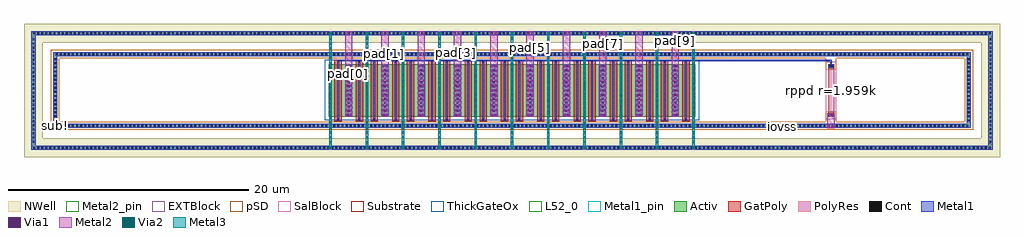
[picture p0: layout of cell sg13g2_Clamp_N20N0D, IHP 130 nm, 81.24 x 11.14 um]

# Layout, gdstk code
import gdstk
lib = gdstk.Library(unit=1e-6, precision=5e-09)
def R(c, l, rs):  # rectangles x0, y0, x1, y1
    for r in rs: c.add(gdstk.rectangle(r[:2], r[2:], *l))
def A(c, l, x, y, w, h, nx, ny, dx, dy):  # array of equal rectangles
    R(c, l, [(x+i*dx, y+j*dy, x+i*dx+w, y+j*dy+h) for i in range(nx) for j in range(ny)])
def P(c, l, *ps):  # polygons
    for p in ps: c.add(gdstk.Polygon(p, *l))
Activ = (1, 0)
GatPoly = (5, 0)
Cont = (6, 0)
Metal1 = (8, 0)
Metal1_pin = (8, 2)
Metal2 = (10, 0)
Metal2_pin = (10, 2)
pSD = (14, 0)
Via1 = (19, 0)
SalBlock = (28, 0)
Via2 = (29, 0)
Metal3 = (30, 0)
NWell = (31, 0)
Substrate = (40, 0)
ThickGateOx = (44, 0)
L52_0 = (52, 0)
EXTBlock = (111, 0)
PolyRes = (128, 0)

sg13g2_clamp_n20n0d = lib.new_cell('sg13g2_Clamp_N20N0D')
R(sg13g2_clamp_n20n0d, Activ, [(24.75,2.75,55.25,7.15)])
P(sg13g2_clamp_n20n0d, Activ, [(0,0),(0,9.56),(0.34,9.56),(0.34,0.34),(79.66,0.34),(79.66,9.56),(0,9.56),(0,9.9),(80,9.9),(80,0)],
  [(1.8,1.85),(1.8,7.81),(2.14,7.81),(2.14,2.19),(77.86,2.19),(77.86,7.81),(1.8,7.81),(1.8,8.15),(78.2,8.15),(78.2,1.85)])
R(sg13g2_clamp_n20n0d, GatPoly, [(25.22,2.38,25.82,7.52), (27,2.38,27.6,7.52), (28.24,2.38,28.84,7.52), (30.02,2.38,30.62,7.52), (31.26,2.38,31.86,7.52), (33.04,2.38,33.64,7.52), (34.28,2.38,34.88,7.52), (36.06,2.38,36.66,7.52), (37.3,2.38,37.9,7.52), (39.08,2.38,39.68,7.52), (40.32,2.38,40.92,7.52), (42.1,2.38,42.7,7.52), (43.34,2.38,43.94,7.52), (45.12,2.38,45.72,7.52), (46.36,2.38,46.96,7.52), (48.14,2.38,48.74,7.52), (49.38,2.38,49.98,7.52), (51.16,2.38,51.76,7.52), (52.4,2.38,53,7.52), (54.18,2.38,54.78,7.52), (66.305,2.75,66.805,2.98), (66.305,2.98,66.805,3.18), (66.305,6.72,66.805,6.92), (66.305,6.92,66.805,7.15)])
A(sg13g2_clamp_n20n0d, Cont, 0.14, 0.09, 0.16, 0.16, 235, 2, 0.34, 9.56)
A(sg13g2_clamp_n20n0d, Cont, 0.09, 0.62, 0.16, 0.16, 1, 26, 0, 0.34)
A(sg13g2_clamp_n20n0d, Cont, 79.75, 0.62, 0.16, 0.16, 1, 26, 0, 0.34)
A(sg13g2_clamp_n20n0d, Cont, 2.01, 1.94, 0.16, 0.16, 224, 2, 0.34, 5.96)
A(sg13g2_clamp_n20n0d, Cont, 1.89, 2.37, 0.16, 0.16, 1, 16, 0, 0.34)
A(sg13g2_clamp_n20n0d, Cont, 77.95, 2.37, 0.16, 0.16, 1, 16, 0, 0.34)
A(sg13g2_clamp_n20n0d, Cont, 24.82, 2.83, 0.16, 0.16, 21, 13, 1.51, 0.34)
R(sg13g2_clamp_n20n0d, Cont, [(25.44,2.45,25.6,2.61), (27.22,2.45,27.38,2.61), (28.46,2.45,28.62,2.61), (30.24,2.45,30.4,2.61), (31.48,2.45,31.64,2.61), (33.26,2.45,33.42,2.61), (34.5,2.45,34.66,2.61), (36.28,2.45,36.44,2.61), (37.52,2.45,37.68,2.61), (39.3,2.45,39.46,2.61), (40.54,2.45,40.7,2.61), (42.32,2.45,42.48,2.61), (43.56,2.45,43.72,2.61), (45.34,2.45,45.5,2.61), (46.58,2.45,46.74,2.61), (48.36,2.45,48.52,2.61), (49.6,2.45,49.76,2.61), (51.38,2.45,51.54,2.61), (52.62,2.45,52.78,2.61), (54.4,2.45,54.56,2.61), (66.375,2.82,66.735,2.98), (66.375,6.92,66.735,7.08), (25.44,7.29,25.6,7.45), (27.22,7.29,27.38,7.45), (28.46,7.29,28.62,7.45), (30.24,7.29,30.4,7.45), (31.48,7.29,31.64,7.45), (33.26,7.29,33.42,7.45), (34.5,7.29,34.66,7.45), (36.28,7.29,36.44,7.45), (37.52,7.29,37.68,7.45), (39.3,7.29,39.46,7.45), (40.54,7.29,40.7,7.45), (42.32,7.29,42.48,7.45), (43.56,7.29,43.72,7.45), (45.34,7.29,45.5,7.45), (46.58,7.29,46.74,7.45), (48.36,7.29,48.52,7.45), (49.6,7.29,49.76,7.45), (51.38,7.29,51.54,7.45), (52.62,7.29,52.78,7.45), (54.4,7.29,54.56,7.45)])
A(sg13g2_clamp_n20n0d, Metal1, 24.795, 1.8, 0.21, 0.34, 11, 2, 3.02, 5.96)
A(sg13g2_clamp_n20n0d, Metal1, 24.795, 2.75, 0.21, 4.4, 11, 1, 3.02, 0)
A(sg13g2_clamp_n20n0d, Metal1, 26.1, 2.75, 0.62, 4.4, 10, 1, 3.02, 0)
R(sg13g2_clamp_n20n0d, Metal1, [(66.245,1.825,66.865,2.115), (66.245,2.75,66.865,3.04), (66.325,6.85,66.785,7.15)])
P(sg13g2_clamp_n20n0d, Metal1, [(0,0),(0,9.56),(0.34,9.56),(0.34,0.34),(79.66,0.34),(79.66,9.56),(0,9.56),(0,9.9),(80,9.9),(80,0)],
  [(1.8,1.85),(1.8,7.81),(2.14,7.81),(2.14,2.19),(77.86,2.19),(77.86,7.81),(1.8,7.81),(1.8,8.15),(78.2,8.15),(78.2,1.85)],
  [(25.44,2.37),(25.44,7.53),(66.635,7.53),(66.635,6.84),(66.475,6.84),(66.475,7.37),(54.56,7.37),(54.56,2.37),(54.4,2.37),(54.4,7.37),(52.78,7.37),(52.78,2.37),(52.62,2.37),(52.62,7.37),(51.54,7.37),(51.54,2.37),(51.38,2.37),(51.38,7.37),(49.76,7.37),(49.76,2.37),(49.6,2.37),(49.6,7.37),(48.52,7.37),(48.52,2.37),(48.36,2.37),(48.36,7.37),(46.74,7.37),(46.74,2.37),(46.58,2.37),(46.58,7.37),(45.5,7.37),(45.5,2.37),(45.34,2.37),(45.34,7.37),(43.72,7.37),(43.72,2.37),(43.56,2.37),(43.56,7.37),(42.48,7.37),(42.48,2.37),(42.32,2.37),(42.32,7.37),(40.7,7.37),(40.7,2.37),(40.54,2.37),(40.54,7.37),(39.46,7.37),(39.46,2.37),(39.3,2.37),(39.3,7.37),(37.68,7.37),(37.68,2.37),(37.52,2.37),(37.52,7.37),(36.44,7.37),(36.44,2.37),(36.28,2.37),(36.28,7.37),(34.66,7.37),(34.66,2.37),(34.5,2.37),(34.5,7.37),(33.42,7.37),(33.42,2.37),(33.26,2.37),(33.26,7.37),(31.64,7.37),(31.64,2.37),(31.48,2.37),(31.48,7.37),(30.4,7.37),(30.4,2.37),(30.24,2.37),(30.24,7.37),(28.62,7.37),(28.62,2.37),(28.46,2.37),(28.46,7.37),(27.38,7.37),(27.38,2.37),(27.22,2.37),(27.22,7.37),(25.6,7.37),(25.6,2.37)])
R(sg13g2_clamp_n20n0d, Metal1_pin, [(62.245,1.85,62.74,2.1), (66.325,2.75,66.785,3.04), (66.325,6.85,66.785,7.15)])
A(sg13g2_clamp_n20n0d, Metal2, 24.8, 0, 0.2, 9.9, 11, 1, 3.02, 0)
A(sg13g2_clamp_n20n0d, Metal2, 26.105, 2.755, 0.61, 7.145, 10, 1, 3.02, 0)
R(sg13g2_clamp_n20n0d, Metal2, [(66.25,1.825,66.86,3.045), (66.25,2.75,66.86,3.04)])
A(sg13g2_clamp_n20n0d, Metal2_pin, 26.105, 2.755, 0.61, 7.145, 10, 1, 3.02, 0)
R(sg13g2_clamp_n20n0d, pSD, [(66.125,2.35,66.985,2.57), (66.125,2.57,66.985,3.18), (66.125,3.18,66.985,6.72), (66.125,6.72,66.985,7.33), (66.125,7.33,66.985,7.63)])
P(sg13g2_clamp_n20n0d, pSD, [(1.62,1.67),(1.62,7.63),(2.32,7.63),(2.32,2.35),(77.68,2.35),(77.68,7.63),(1.62,7.63),(1.62,8.33),(78.38,8.33),(78.38,1.67)])
A(sg13g2_clamp_n20n0d, Via1, 24.805, 1.875, 0.19, 0.19, 11, 2, 3.02, 5.96)
A(sg13g2_clamp_n20n0d, Via1, 24.805, 2.805, 0.19, 0.19, 1, 11, 0, 0.41)
A(sg13g2_clamp_n20n0d, Via1, 26.11, 2.805, 0.19, 0.19, 1, 11, 0, 0.41)
A(sg13g2_clamp_n20n0d, Via1, 26.52, 2.805, 0.19, 0.19, 3, 11, 1.305, 0.41)
A(sg13g2_clamp_n20n0d, Via1, 29.54, 2.805, 0.19, 0.19, 3, 11, 1.305, 0.41)
A(sg13g2_clamp_n20n0d, Via1, 32.56, 2.805, 0.19, 0.19, 3, 11, 1.305, 0.41)
A(sg13g2_clamp_n20n0d, Via1, 35.58, 2.805, 0.19, 0.19, 3, 11, 1.305, 0.41)
A(sg13g2_clamp_n20n0d, Via1, 38.6, 2.805, 0.19, 0.19, 3, 11, 1.305, 0.41)
A(sg13g2_clamp_n20n0d, Via1, 41.62, 2.805, 0.19, 0.19, 3, 11, 1.305, 0.41)
A(sg13g2_clamp_n20n0d, Via1, 44.64, 2.805, 0.19, 0.19, 3, 11, 1.305, 0.41)
A(sg13g2_clamp_n20n0d, Via1, 47.66, 2.805, 0.19, 0.19, 3, 11, 1.305, 0.41)
A(sg13g2_clamp_n20n0d, Via1, 50.68, 2.805, 0.19, 0.19, 3, 11, 1.305, 0.41)
A(sg13g2_clamp_n20n0d, Via1, 53.7, 2.805, 0.19, 0.19, 1, 11, 0, 0.41)
A(sg13g2_clamp_n20n0d, Via1, 55.005, 2.805, 0.19, 0.19, 1, 11, 0, 0.41)
R(sg13g2_clamp_n20n0d, Via1, [(66.255,1.875,66.445,2.065), (66.665,1.875,66.855,2.065), (66.255,2.8,66.445,2.99), (66.665,2.8,66.855,2.99)])
R(sg13g2_clamp_n20n0d, SalBlock, [(66.105,3.18,67.005,6.72)])
A(sg13g2_clamp_n20n0d, Via2, 24.805, 0.14, 0.19, 0.19, 11, 24, 3.02, 0.41)
A(sg13g2_clamp_n20n0d, Metal3, 24.8, 0.09, 0.2, 9.72, 11, 1, 3.02, 0)
P(sg13g2_clamp_n20n0d, NWell, [(-0.62,-0.62),(-0.62,8.94),(0.96,8.94),(0.96,0.96),(79.04,0.96),(79.04,8.94),(-0.62,8.94),(-0.62,10.52),(80.62,10.52),(80.62,-0.62)])
P(sg13g2_clamp_n20n0d, Substrate, [(1.8,1.85),(1.8,7.81),(2.14,7.81),(2.14,2.19),(77.86,2.19),(77.86,7.81),(1.8,7.81),(1.8,8.15),(78.2,8.15),(78.2,1.85)])
R(sg13g2_clamp_n20n0d, ThickGateOx, [(24.41,2.46,55.59,7.49)])
R(sg13g2_clamp_n20n0d, L52_0, [(66.305,3.18,66.805,6.72)])
R(sg13g2_clamp_n20n0d, EXTBlock, [(66.125,2.57,66.985,3.18), (66.125,2.57,66.985,7.33), (66.105,3.18,67.005,6.72), (66.125,6.72,66.985,7.33)])
R(sg13g2_clamp_n20n0d, PolyRes, [(66.305,3.18,66.805,6.72)])
sg13g2_clamp_n20n0d.add(gdstk.Label('rppd r=1.959k', (66.555,4.95), layer=63, texttype=0))
sg13g2_clamp_n20n0d.add(gdstk.Label('sub!', (1.97,2.02), layer=63, texttype=0))
sg13g2_clamp_n20n0d.add(gdstk.Label('iovss', (62.53,1.995), layer=8, texttype=25))
sg13g2_clamp_n20n0d.add(gdstk.Label('pad[0]', (26.41,6.33), layer=10, texttype=25))
sg13g2_clamp_n20n0d.add(gdstk.Label('pad[1]', (29.385,7.99), layer=10, texttype=25))
sg13g2_clamp_n20n0d.add(gdstk.Label('pad[2]', (32.46,8.12), layer=10, texttype=25))
sg13g2_clamp_n20n0d.add(gdstk.Label('pad[3]', (35.4,8.14), layer=10, texttype=25))
sg13g2_clamp_n20n0d.add(gdstk.Label('pad[4]', (38.47,7.78), layer=10, texttype=25))
sg13g2_clamp_n20n0d.add(gdstk.Label('pad[5]', (41.505,8.555), layer=10, texttype=25))
sg13g2_clamp_n20n0d.add(gdstk.Label('pad[6]', (44.575,8.875), layer=10, texttype=25))
sg13g2_clamp_n20n0d.add(gdstk.Label('pad[7]', (47.59,8.835), layer=10, texttype=25))
sg13g2_clamp_n20n0d.add(gdstk.Label('pad[8]', (50.585,8.97), layer=10, texttype=25))
sg13g2_clamp_n20n0d.add(gdstk.Label('pad[9]', (53.585,9.1), layer=10, texttype=25))
sg13g2_clamp_n20n0d.add(gdstk.Label('rppd', (66.555,4.95), layer=52, texttype=0))

lib.write_gds('sg13g2_Clamp_N20N0D.gds')
